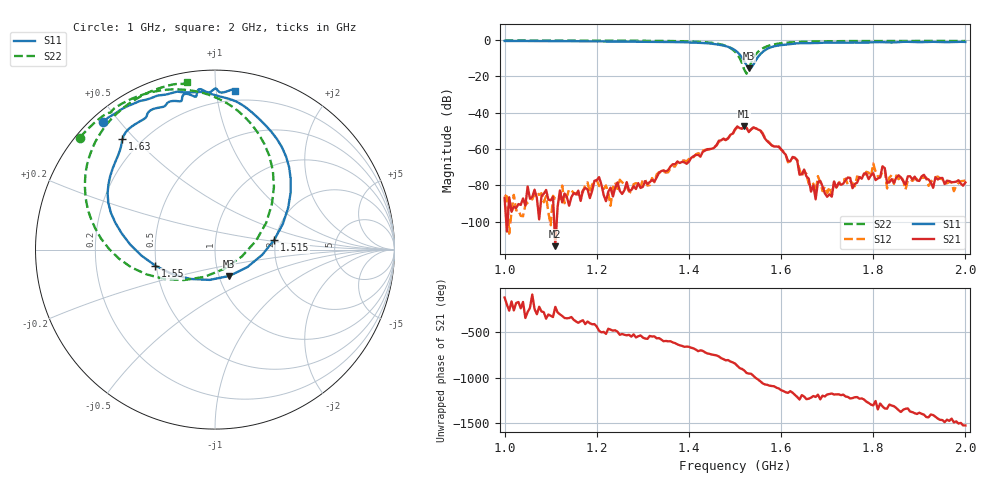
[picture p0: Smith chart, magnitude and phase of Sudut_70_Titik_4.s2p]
# Hz S RI R 50
! CMT, C1220, 16058040, 17.2.0/1
! Date: 14/08/2018 12:29:30
! Data: Format (Calibration Info)
! Freq  S11: Re/Im (F2)  S21: Re/Im (F2)  S12: Re/Im (F2)  S22: Re/Im (F2)
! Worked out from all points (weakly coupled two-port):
!   201 points, 1 GHz to 2 GHz, reference 50 ohm
!   highest |S21| = -47.52 dB at 1.52 GHz (marker M1); lowest = -113.6 dB at 1.11 GHz (marker M2)
!   lowest |S11| = -15.5 dB at 1.53 GHz (marker M3), VSWR 1.40, Z = 55.9 - j16.9 ohm
!   |S11| at or under -10 dB: 1.516 GHz to 1.548 GHz (31.86 MHz wide, 2.08 % of centre)
!   |S22| runs from -18.5 to -0.2 dB; largest |S21 - S12| = 0.00026
!   S11 on the Smith chart (normalised r, x): 1 GHz: 0.03, +0.45; 1.515 GHz: 1.97, +0.24; 1.55 GHz: 0.49, -0.10; 1.63 GHz: 0.13, +0.46; 2 GHz: 0.13, +1.13
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1e9  -0.6262 0.7084  -2.22e-05 -3.92e-05  -3.76e-05 3.83e-05  -0.7528 0.6242
1.11e9  -0.5209 0.7821  -1.56e-06 1.4e-06  3.54e-05 2.27e-05  -0.6718 0.7057
1.17e9  -0.4501 0.8143  7.1e-05 -1.1e-05  5.03e-05 -4.1e-05  -0.6166 0.7495
1.315e9  -0.2114 0.8794  -0.000122 6.32e-07  -9.85e-05 2.34e-05  -0.4388 0.8506
1.335e9  -0.1848 0.8769  -0.000201 9.12e-05  -0.000167 0.000158  -0.4012 0.8637
1.45e9  0.2015 0.7683  0.000922 -0.00043  0.00091 -0.000479  0.0212 0.8397
1.5e9  0.4213 0.3175  -0.00187 -0.00293  -0.00178 -0.00283  0.3285 0.3497
1.515e9  0.3302 0.0544  -0.00362 0.000124  -0.00363 -1.27e-05  0.2289 0.0493
1.52e9  0.2637 -0.0284  -0.00399 0.00133  -0.00405 0.00127  0.1498 -0.038
1.53e9  0.0792 -0.147  -0.00176 0.00233  -0.00178 0.00242  -0.0577 -0.1516
1.55e9  -0.332 -0.09  0.00161 0.00304  0.00154 0.00317  -0.4672 -0.0986
1.615e9  -0.5308 0.5496  4.42e-05 -0.000458  3.08e-05 -0.000425  -0.7124 0.4746
1.63e9  -0.5156 0.6156  -0.00016 -0.000554  -8.3e-05 -0.000557  -0.6909 0.5443
1.64e9  -0.4978 0.6537  -0.000181 -7.46e-05  -0.000229 -0.000136  -0.6749 0.5834
1.67e9  -0.3959 0.7274  -4.83e-05 -8.66e-05  -5.87e-05 -9.4e-05  -0.6236 0.6711
1.76e9  -0.2332 0.8281  -7.32e-05 -8.03e-05  -2.26e-05 -9.09e-05  -0.483 0.8104
1.795e9  -0.1829 0.8471  -0.000157 0.000101  -0.000157 6.91e-05  -0.4324 0.8428
1.8e9  -0.1803 0.8565  -0.000159 0.000142  -0.000387 9.97e-05  -0.4256 0.8473
1.805e9  -0.1753 0.8634  -0.000138 -1.62e-05  -0.000223 8.45e-05  -0.4187 0.8515
1.82e9  -0.1453 0.8653  -0.000205 0.000262  -0.000213 8.86e-05  -0.3978 0.8622
1.835e9  -0.112 0.8518  -0.000101 6.41e-05  -4.27e-05 0.000157  -0.3777 0.8722
2e9  0.1125 0.8835  1.75e-05 -0.000118  3.66e-05 -0.000129  -0.154 0.9315
